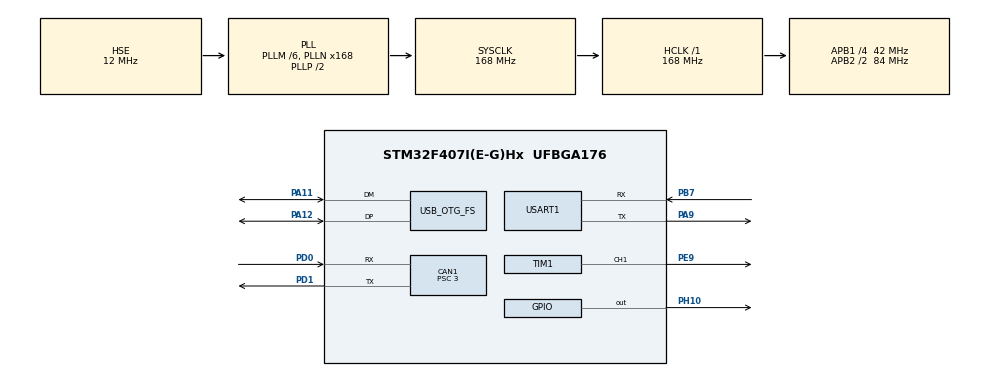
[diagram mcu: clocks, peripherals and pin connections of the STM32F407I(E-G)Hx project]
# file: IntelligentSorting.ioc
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CAN1.ABOM=ENABLE
CAN1.BS1=CAN_BS1_10TQ
CAN1.BS2=CAN_BS2_3TQ
CAN1.CalculateBaudRate=1000000
CAN1.CalculateTimeBit=1000
CAN1.CalculateTimeQuantum=71.42857142857143
CAN1.NART=ENABLE
CAN1.Prescaler=3
Dma.Request0=USART1_RX
Dma.Request1=USART1_TX
Dma.USART1_RX.0.Direction=DMA_PERIPH_TO_MEMORY
Dma.USART1_RX.0.FIFOMode=DMA_FIFOMODE_DISABLE
Dma.USART1_RX.0.Instance=DMA2_Stream2
Dma.USART1_RX.0.MemDataAlignment=DMA_MDATAALIGN_BYTE
Dma.USART1_RX.0.MemInc=DMA_MINC_ENABLE
Dma.USART1_RX.0.Mode=DMA_NORMAL
Dma.USART1_RX.0.PeriphDataAlignment=DMA_PDATAALIGN_BYTE
Dma.USART1_RX.0.PeriphInc=DMA_PINC_DISABLE
Dma.USART1_RX.0.Priority=DMA_PRIORITY_LOW
Dma.USART1_TX.1.Direction=DMA_MEMORY_TO_PERIPH
Dma.USART1_TX.1.FIFOMode=DMA_FIFOMODE_DISABLE
Dma.USART1_TX.1.Instance=DMA2_Stream7
Dma.USART1_TX.1.MemDataAlignment=DMA_MDATAALIGN_BYTE
Dma.USART1_TX.1.MemInc=DMA_MINC_ENABLE
Dma.USART1_TX.1.Mode=DMA_NORMAL
Dma.USART1_TX.1.PeriphDataAlignment=DMA_PDATAALIGN_BYTE
Dma.USART1_TX.1.PeriphInc=DMA_PINC_DISABLE
Dma.USART1_TX.1.Priority=DMA_PRIORITY_LOW
FREERTOS.Tasks01=defaultTask,24,128,StartDefaultTask,Default,NULL,Dynamic,NULL,NULL
Mcu.Family=STM32F4
Mcu.Name=STM32F407I(E-G)Hx
Mcu.Package=UFBGA176
NVIC.CAN1_RX0_IRQn=true\:5\:0\:false\:false\:true\:true\:true\:true\:true
NVIC.DMA2_Stream2_IRQn=true\:5\:0\:false\:false\:true\:true\:false\:true\:true
NVIC.DMA2_Stream7_IRQn=true\:5\:0\:false\:false\:true\:true\:false\:true\:true
NVIC.OTG_FS_IRQn=true\:5\:0\:false\:false\:true\:true\:true\:true\:true
NVIC.PriorityGroup=NVIC_PRIORITYGROUP_4
NVIC.TIM2_IRQn=true\:5\:0\:false\:false\:true\:true\:true\:true\:true
NVIC.TIM4_IRQn=true\:15\:0\:false\:false\:true\:false\:false\:true\:true
NVIC.TIM7_IRQn=true\:5\:0\:false\:false\:true\:true\:true\:true\:true
NVIC.TimeBase=TIM4_IRQn
NVIC.TimeBaseIP=TIM4
NVIC.USART1_IRQn=true\:5\:0\:false\:false\:true\:true\:true\:true\:true
PA11.Mode=Device_Only
PA11.Signal=USB_OTG_FS_DM
PA12.Mode=Device_Only
PA12.Signal=USB_OTG_FS_DP
PA13.Mode=Serial_Wire
PA13.Signal=SYS_JTMS-SWDIO
PA14.Mode=Serial_Wire
PA14.Signal=SYS_JTCK-SWCLK
PA9.Mode=Asynchronous
PA9.Signal=USART1_TX
PB7.Mode=Asynchronous
PB7.Signal=USART1_RX
PD0.Mode=CAN_Activate
PD0.Signal=CAN1_RX
PD1.Mode=CAN_Activate
PD1.Signal=CAN1_TX
PE11.Signal=S_TIM1_CH2
PE13.Signal=S_TIM1_CH3
PE9.Signal=S_TIM1_CH1
PH0-OSC_IN.Mode=HSE-External-Oscillator
PH0-OSC_IN.Signal=RCC_OSC_IN
PH1-OSC_OUT.Mode=HSE-External-Oscillator
PH1-OSC_OUT.Signal=RCC_OSC_OUT
PH10.Signal=GPIO_Output
ProjectManager.HeapSize=0x200
ProjectManager.StackSize=0x400
ProjectManager.TargetToolchain=CMake
RCC.48MHZClocksFreq_Value=48000000
RCC.AHBFreq_Value=168000000
RCC.APB1CLKDivider=RCC_HCLK_DIV4
RCC.APB1Freq_Value=42000000
RCC.APB1TimFreq_Value=84000000
RCC.APB2CLKDivider=RCC_HCLK_DIV2
RCC.APB2Freq_Value=84000000
RCC.APB2TimFreq_Value=168000000
RCC.CortexFreq_Value=168000000
RCC.HCLKFreq_Value=168000000
RCC.HSE_VALUE=12000000
RCC.HSI_VALUE=16000000
RCC.LSE_VALUE=32768
RCC.PLLM=6
RCC.PLLN=168
RCC.PLLQ=7
RCC.SYSCLKFreq_VALUE=168000000
RCC.SYSCLKSource=RCC_SYSCLKSOURCE_PLLCLK
RCC.VCOOutputFreq_Value=336000000
SH.S_TIM1_CH1.0=TIM1_CH1,PWM Generation1 CH1
SH.S_TIM1_CH2.0=TIM1_CH2
SH.S_TIM1_CH3.0=TIM1_CH3
TIM1.Channel-PWM\ Generation1\ CH1=TIM_CHANNEL_1
TIM1.Period=20000-1
TIM1.Prescaler=168-1
TIM2.Period=1000-1
TIM2.Prescaler=168-1
TIM7.Period=1000-1
TIM7.Prescaler=168-1
USART1.VirtualMode=VM_ASYNC
USB_DEVICE.CLASS_NAME_FS=CDC
USB_DEVICE.VirtualMode-CDC_FS=Cdc
USB_DEVICE.VirtualModeFS=Cdc_FS
USB_OTG_FS.VirtualMode=Device_Only
VP_FREERTOS_VS_CMSIS_V2.Mode=CMSIS_V2
VP_SYS_VS_tim4.Mode=TIM4
VP_TIM2_VS_ClockSourceINT.Mode=Internal
VP_TIM7_VS_ClockSourceINT.Mode=Enable_Timer
VP_USB_DEVICE_VS_USB_DEVICE_CDC_FS.Mode=CDC_FS
board=custom

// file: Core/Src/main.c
/* USER CODE BEGIN Header */
/**
  ******************************************************************************
  * @file           : main.c
  * @brief          : Main program body
  ******************************************************************************
  * @attention
  *
  * Copyright (c) 2026 STMicroelectronics.
  * All rights reserved.
  *
  * This software is licensed under terms that can be found in the LICENSE file
  * in the root directory of this software component.
  * If no LICENSE file comes with this software, it is provided AS-IS.
  *
  ******************************************************************************
  */
/* USER CODE END Header */
#include "main.h"
#include "cmsis_os.h"
#include "can.h"
#include "dma.h"
#include "tim.h"
#include "usart.h"
#include "usb_device.h"
#include "gpio.h"

/* USER CODE BEGIN Includes */
#include "debug.h"
/* USER CODE END Includes */

void SystemClock_Config(void);
void MX_FREERTOS_Init(void);

int main(void)
{

  /* MCU Configuration--------------------------------------------------------*/

  /* Reset of all peripherals, Initializes the Flash interface and the Systick. */
  HAL_Init();

  /* Configure the system clock */
  SystemClock_Config();

  /* Initialize all configured peripherals */
  MX_GPIO_Init();
  MX_DMA_Init();
  MX_CAN1_Init();
  MX_USART1_UART_Init();
  MX_TIM2_Init();
  MX_TIM7_Init();
  MX_TIM1_Init();
  /* USER CODE BEGIN 2 */
  debug_init();
  /* USER CODE END 2 */

  /* Init scheduler */
  osKernelInitialize();  /* Call init function for freertos objects (in cmsis_os2.c) */
  MX_FREERTOS_Init();

  /* Start scheduler */
  osKernelStart();

  /* We should never get here as control is now taken by the scheduler */

  /* Infinite loop */
  while (1)
  {

    /* USER CODE BEGIN 3 */
    debug_run();
  }
  /* USER CODE END 3 */
}

void SystemClock_Config(void)
{
  RCC_OscInitTypeDef RCC_OscInitStruct = {0};
  RCC_ClkInitTypeDef RCC_ClkInitStruct = {0};

  /** Configure the main internal regulator output voltage
  */
  __HAL_RCC_PWR_CLK_ENABLE();
  __HAL_PWR_VOLTAGESCALING_CONFIG(PWR_REGULATOR_VOLTAGE_SCALE1);

  /** Initializes the RCC Oscillators according to the specified parameters
  * in the RCC_OscInitTypeDef structure.
  */
  RCC_OscInitStruct.OscillatorType = RCC_OSCILLATORTYPE_HSE;
  RCC_OscInitStruct.HSEState = RCC_HSE_ON;
  RCC_OscInitStruct.PLL.PLLState = RCC_PLL_ON;
  RCC_OscInitStruct.PLL.PLLSource = RCC_PLLSOURCE_HSE;
  RCC_OscInitStruct.PLL.PLLM = 6;
  RCC_OscInitStruct.PLL.PLLN = 168;
  RCC_OscInitStruct.PLL.PLLP = RCC_PLLP_DIV2;
  RCC_OscInitStruct.PLL.PLLQ = 7;
  if (HAL_RCC_OscConfig(&RCC_OscInitStruct) != HAL_OK)
  {
    Error_Handler();
  }

  /** Initializes the CPU, AHB and APB buses clocks
  */
  RCC_ClkInitStruct.ClockType = RCC_CLOCKTYPE_HCLK|RCC_CLOCKTYPE_SYSCLK
                              |RCC_CLOCKTYPE_PCLK1|RCC_CLOCKTYPE_PCLK2;
  RCC_ClkInitStruct.SYSCLKSource = RCC_SYSCLKSOURCE_PLLCLK;
  RCC_ClkInitStruct.AHBCLKDivider = RCC_SYSCLK_DIV1;
  RCC_ClkInitStruct.APB1CLKDivider = RCC_HCLK_DIV4;
  RCC_ClkInitStruct.APB2CLKDivider = RCC_HCLK_DIV2;

  if (HAL_RCC_ClockConfig(&RCC_ClkInitStruct, FLASH_LATENCY_5) != HAL_OK)
  {
    Error_Handler();
  }
}

__weak void HAL_TIM_PeriodElapsedCallback(TIM_HandleTypeDef *htim)
{
  if (htim->Instance == TIM4)
  {
    HAL_IncTick();
  }
}

void Error_Handler(void)
{
  __disable_irq();
  while (1)
  {
  }
}

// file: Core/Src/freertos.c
/* USER CODE BEGIN Header */
/**
  ******************************************************************************
  * File Name          : freertos.c
  * Description        : Code for freertos applications
  ******************************************************************************
  * @attention
  *
  * Copyright (c) 2026 STMicroelectronics.
  * All rights reserved.
  *
  * This software is licensed under terms that can be found in the LICENSE file
  * in the root directory of this software component.
  * If no LICENSE file comes with this software, it is provided AS-IS.
  *
  ******************************************************************************
  */
/* USER CODE END Header */

#include "FreeRTOS.h"
#include "task.h"
#include "main.h"
#include "cmsis_os.h"

/* USER CODE BEGIN Includes */
#include "app.h"
#include "host_comm.h"
#include "motion_sys_XY.h"
#include "dji_3508.h"
#include "stepmotor.h"
#include "debug.h"
/* USER CODE END Includes */

/* USER CODE BEGIN Variables */
osThreadId_t motorCtrlTaskHandle;
const osThreadAttr_t motorCtrlTask_attributes = {
  .name = "MotorCtrlTask",
  .stack_size = 512 * 4,
  .priority = (osPriority_t) osPriorityRealtime,
};

osThreadId_t telemetryTaskHandle;
const osThreadAttr_t telemetryTask_attributes = {
  .name = "TelemetryTask",
  .stack_size = 384 * 4,
  .priority = (osPriority_t) osPriorityLow,
};
/* USER CODE END Variables */
/* Definitions for defaultTask */
osThreadId_t defaultTaskHandle;
const osThreadAttr_t defaultTask_attributes = {
  .name = "defaultTask",
  .stack_size = 512 * 4,
  .priority = (osPriority_t) osPriorityAboveNormal,
};

/* USER CODE BEGIN FunctionPrototypes */
void StartMotorCtrlTask(void *argument);
void StartTelemetryTask(void *argument);
/* USER CODE END FunctionPrototypes */

void StartDefaultTask(void *argument);

extern void MX_USB_DEVICE_Init(void);
void MX_FREERTOS_Init(void); /* (MISRA C 2004 rule 8.1) */

void MX_FREERTOS_Init(void) {

  /* Create the thread(s) */
  /* creation of defaultTask */
  defaultTaskHandle = osThreadNew(StartDefaultTask, NULL, &defaultTask_attributes);

  /* USER CODE BEGIN RTOS_THREADS */
  motorCtrlTaskHandle = osThreadNew(StartMotorCtrlTask, NULL, &motorCtrlTask_attributes);
  telemetryTaskHandle = osThreadNew(StartTelemetryTask, NULL, &telemetryTask_attributes);
  /* USER CODE END RTOS_THREADS */

}

/* USER CODE BEGIN Header_StartDefaultTask */
/**
  * @brief  Function implementing the defaultTask thread (AppFsmTask).
  * @param  argument: Not used
  * @retval None
  */
/* USER CODE END Header_StartDefaultTask */
void StartDefaultTask(void *argument)
{
  /* init code for USB_DEVICE */
  MX_USB_DEVICE_Init();
  /* USER CODE BEGIN StartDefaultTask */
  App_Init();
  /* Infinite loop */
  for(;;)
  {
    HostComm_Poll();
    App_Poll();
    osDelay(APP_POLL_INTERVAL_MS);
  }
  /* USER CODE END StartDefaultTask */
}

/* USER CODE BEGIN Application */

/**
  * @brief  1kHz (1ms) 硬实时电机控制任务: CoreXY 轨迹插补与绝对脉冲流式下发 + 大疆 3508 闭环控制
  */
void StartMotorCtrlTask(void *argument)
{
  uint32_t wake_tick = osKernelGetTickCount();
  uint32_t div3_cnt = 0;

  for (;;)
  {
    wake_tick += 1U;

    /* 1ms: CoreXY 双轴轨迹插补与步进位置流式下发 (替代原 TIM7 ISR 浮点运算) */
    MotionSys_XY_Tick();

    /* 3ms 周期: 大疆 3508 串级 TD-PID 计算及 CAN 发送 + 步进电机状态轮询 (与 DJ_CTRL_PERIOD 0.003f 精确匹配) */
    if (++div3_cnt >= 3U)
    {
      div3_cnt = 0U;
      DJ_MotorRun();
      StepMotor_Run();
    }

    osDelayUntil(wake_tick);
  }
}

/**
  * @brief  20ms 低优先级遥测与调试任务: 串口输出与调试诊断
  */
void StartTelemetryTask(void *argument)
{
  for (;;)
  {
    debug_run();
    osDelay(20U);
  }
}

/**
  * @brief  FreeRTOS 栈溢出保护钩子
  */
void vApplicationStackOverflowHook(TaskHandle_t xTask, char *pcTaskName)
{
  (void)xTask;
  (void)pcTaskName;
  __disable_irq();
  for (;;)
  {
    /* 硬件级死锁挂起, 防止破坏相邻内存 */
  }
}

/* USER CODE END Application */
